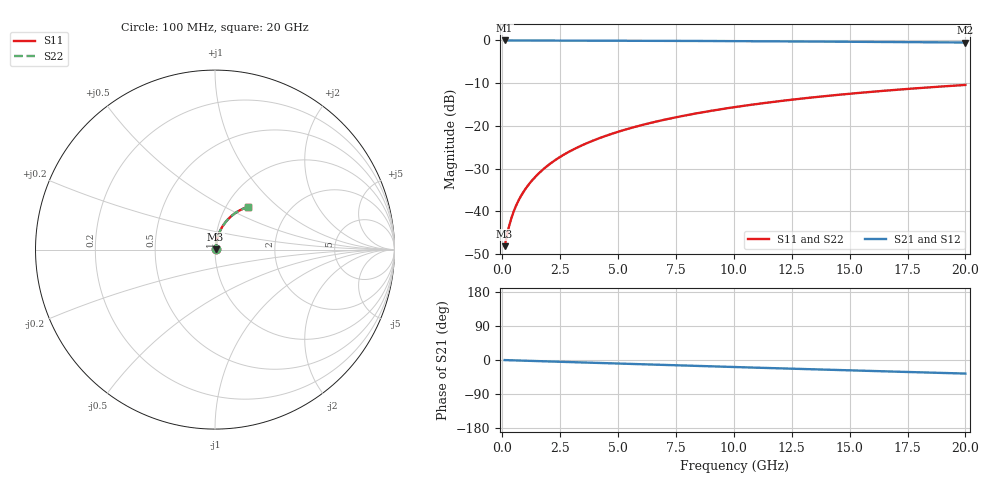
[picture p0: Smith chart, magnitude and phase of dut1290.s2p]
! Touchstone file exported from HFSS 2026.1.0
!  File:  C:/ffzhzh/LocalFiles/Ansys_Project_Files/temp_train_TMRDL_1290_1783164499_55132.aedt
!  Generated:  07:29:35 PM Jul  4, 2026
!  Design:  TMRDL
!  Project:  temp_train_TMRDL_1290_1783164499_55132
! Variables:
!  h_bsmrdl = 2um
!  h_ox = 20um
!  h_rdl = 5um
!  h_sub = 80um
!  h_tmrdl = 2.57um
!  h_tsv = 80um
!  h_via = 3um
!  l_bsmrdl = 300um
!  l_sub = 928.43um
!  l_tmrdl = 528.43um
!  m_sub = 200um
!  pitch = 43.35um
!  r_tsv = 6um
!  s_tmrdl = 10um
!  w_bsmrdl = 18um
!  w_sub = 500um
!  w_tmrdl = 23.59um
!  x_tsv_center1 = 540.225um
!  x_tsv_center2 = 858.225um
!  x_tsv_center3 = 1410.245um
!  x_tsv_center4 = 1728.245um
!  x_tsv_center5 = 2280.265um
!  x_tsv_center6 = 2598.265um
# GHz S MA R 50.000000
! Terminal data exported
! Port[1] = TM_RDL1_1_T1
! Port[2] = TM_RDL1_1_T2
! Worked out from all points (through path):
!   200 points, 100 MHz to 20 GHz, reference 50 ohm
!   highest |S21| = -0.03 dB at 100 MHz (marker M1); lowest = -0.5 dB at 20 GHz (marker M2)
!   group delay of S21, straight-line fit = 4.98 ps
!   lowest |S11| = -48.2 dB at 100 MHz (marker M3), VSWR 1.01, Z = 50.3 + j0.197 ohm
!   |S11| at or under -10 dB: start of sweep to end of sweep
!   |S22| runs from -48.2 to -10.4 dB; largest |S21 - S12| = 2.7e-15
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0.1  0.003906 30.0  0.9966 -0.2  0.9966 -0.2  0.003906 30.0
! Gamma 0 0 0 0
! Port Impedance 50 0 50 0
0.2  0.005226 47.6  0.9965 -0.4  0.9965 -0.4  0.005226 47.6
0.3  0.006801 56.8  0.9963 -0.6  0.9963 -0.6  0.006801 56.8
0.4  0.008435 62.2  0.9961 -0.8  0.9961 -0.8  0.008435 62.2
0.5  0.01007 65.8  0.996 -1.0  0.996 -1.0  0.01007 65.8
0.6  0.01171 68.3  0.9958 -1.2  0.9958 -1.2  0.01171 68.3
0.8  0.01497 71.8  0.9956 -1.5  0.9956 -1.5  0.01497 71.8
1.1  0.0199 74.9  0.9953 -2.1  0.9953 -2.1  0.0199 74.9
1.3  0.0232 76.2  0.9952 -2.5  0.9952 -2.5  0.0232 76.2
1.6  0.0282 77.5  0.995 -3.0  0.995 -3.0  0.0282 77.5
2.1  0.03657 78.5  0.9946 -4.0  0.9946 -4.0  0.03657 78.5
2.7  0.04666 78.9  0.994 -5.1  0.994 -5.1  0.04666 78.9
3.5  0.06009 78.5  0.9931 -6.6  0.9931 -6.6  0.0601 78.5
4.2  0.0718 77.9  0.9921 -7.9  0.9921 -7.9  0.0718 77.9
5  0.08509 76.9  0.9908 -9.4  0.9908 -9.4  0.0851 76.9
5.9  0.0999 75.6  0.9891 -11.0  0.9891 -11.0  0.09991 75.6
6.8  0.1145 74.2  0.9872 -12.7  0.9872 -12.7  0.1145 74.2
8.3  0.1385 71.8  0.9836 -15.4  0.9836 -15.4  0.1385 71.8
10.1  0.1664 68.7  0.9786 -18.7  0.9786 -18.7  0.1664 68.7
13.4  0.2149 63.2  0.9679 -24.5  0.9679 -24.5  0.2149 63.1
16.7  0.2597 57.6  0.956 -30.3  0.956 -30.3  0.2597 57.6
20  0.3006 52.2  0.9432 -35.8  0.9432 -35.8  0.3007 52.2
